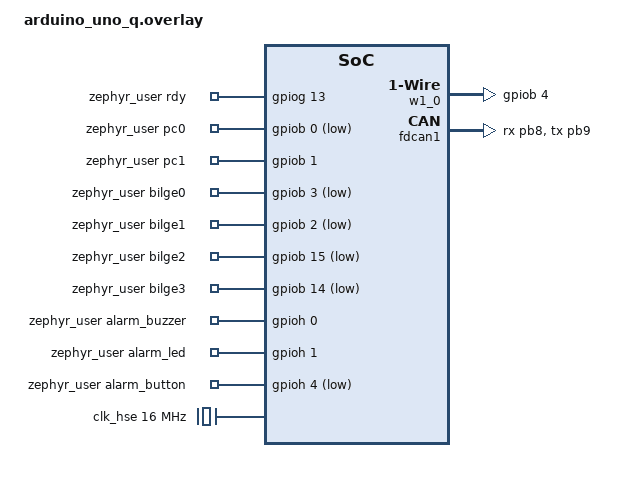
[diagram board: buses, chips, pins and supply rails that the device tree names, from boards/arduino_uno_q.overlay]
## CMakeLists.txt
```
cmake_minimum_required(VERSION 3.20.0)

# -----------------------------------------------------------------------
# CAN controller selection
#   OFF (default) — STM32 FDCAN1 on PB8/PB9 (D9/D10)
#   ON            — CANADUINO MCP2515 CAN Bus Shield via Arduino SPI2
#                   (CS=D10/PB9, INT=D2/PB3, SCK/MISO/MOSI=D13-D11)
# -----------------------------------------------------------------------
set(USE_MCP2515_SHIELD OFF)

if(USE_MCP2515_SHIELD)
  list(APPEND EXTRA_DTC_OVERLAY_FILE
    "${CMAKE_CURRENT_SOURCE_DIR}/boards/arduino_uno_q_mcp2515.overlay")
  list(APPEND EXTRA_CONF_FILE
    "${CMAKE_CURRENT_SOURCE_DIR}/prj_mcp2515.conf")
endif()

find_package(Zephyr REQUIRED HINTS $ENV{ZEPHYR_BASE})

project(sensor_n2k)

target_sources(app PRIVATE
    src/main.c
    src/spi_bridge.c
    src/adc.c
    src/onewire.c
    src/n2k.c
    src/led.c
    src/sensor_config.c
    src/pulse_counter.c
    src/alarm_io.c
    src/bilge.c
)
```

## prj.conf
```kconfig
CONFIG_CAN=y
CONFIG_CAN_MANUAL_RECOVERY_MODE=y
CONFIG_CAN_INIT_PRIORITY=60
CONFIG_CAN_STM32_FDCAN_MAX_STD_ID_FILTERS=28
CONFIG_CAN_STM32_FDCAN_MAX_EXT_ID_FILTERS=8

CONFIG_SPI=y
CONFIG_SPI_STM32_DMA=y

# Nocache SRAM region for GPDMA SPI buffers.
# Without this the MPU does not mark the SRAM_NOCACHE DT region as
# non-cacheable and __nocache / Z_GENERIC_SECTION(SRAM_NOCACHE) have no effect,
# leaving spi_tx/spi_rx in cached SRAM where GPDMA reads stale data.

CONFIG_ADC=y

CONFIG_GPIO=y
CONFIG_W1=y
# W1_ZEPHYR_GPIO_TIME_CRITICAL is intentionally disabled.
# With it enabled, irq_lock() is held for every 1-Wire bit slot (~60 µs),
# blocking pulse counter ISRs and causing SPI slave overruns.
# DS18B20 tolerates ~2 µs of bit-timing jitter; Cortex-M interrupt latency
# is < 1 µs, so k_busy_wait()-based timing is accurate enough without locking.
# Always use MATCH ROM addressing so w1_write_read() correctly targets
# individual sensors on a multi-drop bus (overrides the DTS slave_count heuristic)
CONFIG_W1_NET_FORCE_MULTIDROP_ADDRESSING=y
CONFIG_SENSOR=y

# Floating-point printf in LOG macros (fixes %f in onewire / adc)
CONFIG_CBPRINTF_FP_SUPPORT=y

# Persistent config via NVS in the storage_partition
CONFIG_FLASH=y
CONFIG_FLASH_MAP=y
CONFIG_NVS=y
CONFIG_SETTINGS=y
CONFIG_SETTINGS_NVS=y

CONFIG_LOG=y
CONFIG_LOG_MODE_IMMEDIATE=y
CONFIG_PRINTK=y

CONFIG_MAIN_STACK_SIZE=2048
CONFIG_SYSTEM_WORKQUEUE_STACK_SIZE=2048


#debug support — choose ONE of the two blocks below

# --- Option A: UART console ---
# CONFIG_CONSOLE=y
# CONFIG_UART_CONSOLE=y
# CONFIG_SERIAL=y

# --- Option B: SEGGER RTT via OpenOCD (active) ---
CONFIG_CONSOLE=y
CONFIG_UART_CONSOLE=n
CONFIG_SERIAL=n
CONFIG_USE_SEGGER_RTT=y
CONFIG_RTT_CONSOLE=y
CONFIG_LOG_BACKEND_RTT=y
CONFIG_LOG_BACKEND_UART=n
CONFIG_SEGGER_RTT_SECTION_NONE=y
CONFIG_SEGGER_RTT_MODE_NO_BLOCK_SKIP=y
CONFIG_SEGGER_RTT_BUFFER_SIZE_UP=4096
```

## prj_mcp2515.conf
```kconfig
# Extra Kconfig for the MCP2515 CAN shield build.
# Appended after prj.conf when USE_MCP2515_SHIELD=ON in CMakeLists.txt.

# Show all MCP2515 driver errors (the CAN log module defaults to LOG_DEFAULT_LEVEL
# which may suppress driver-internal LOG_ERR; force it to INF here so mode-change
# failures and SPI errors are visible during bring-up).
CONFIG_CAN_LOG_LEVEL_INF=y

# CONFIG_CAN_MCP2515 is auto-enabled by Zephyr when the mcp2515 DTS node
# exists with status = "okay" (DT_HAS_MICROCHIP_MCP2515_ENABLED).

# MCP2515 interrupt handler thread — defaults are fine but documented here.
CONFIG_CAN_MCP2515_INT_THREAD_STACK_SIZE=1024
CONFIG_CAN_MCP2515_INT_THREAD_PRIO=2

# Allow up to 16 concurrent RX filters (default; raise if more are needed).
CONFIG_CAN_MCP2515_MAX_FILTERS=16

# Larger RTT buffer — the MCP2515 on a live N2K bus produces many frame log
# lines during the 3 s sniff; the default 4096 B overflows and truncates output.
CONFIG_SEGGER_RTT_BUFFER_SIZE_UP=16384

# prj.conf already adds CBPRINTF_FP_SUPPORT, FLASH, NVS, SETTINGS — all carry over.

# Note: CONFIG_CAN_STM32_FDCAN_MAX_STD_ID_FILTERS and
# CONFIG_CAN_STM32_FDCAN_MAX_EXT_ID_FILTERS from prj.conf become
# orphaned when FDCAN1 is disabled; Zephyr will warn but the build succeeds.
```

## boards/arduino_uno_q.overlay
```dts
#include <zephyr/dt-bindings/clock/stm32u5_clock.h>
#include <zephyr/dt-bindings/dma/stm32_dma.h>
/*
 * Arduino UNO Q overlay for sensor_n2k.
 *
 * SPI3 (spi3) is the internal SPI bus to the Linux MPU — already enabled
 * with correct pinctrl in arduino_uno_q-common.dtsi.
 * DMA is added here: without it the 8-byte SPI FIFO causes a header
 * duplication in every slave-mode transfer (first 8 bytes clock out from
 * the FIFO, then the interrupt handler restarts TX from spi_tx[0]).
 *
 * RDY output: PG13 = gpiochip1 line 70 on the Linux side.
 *
 * FDCAN1 RX/TX: PB8 / PB9 (Arduino D9 / D10) — avoids USB OTG FS PHY on PA11/PA12
 * 1-Wire data : PB4 (Arduino D8)
 * ADC ch 9    : PA4 (Arduino A0)
 */

/ {
	chosen {
		zephyr,canbus = &fdcan1;
	};

	/* RDY GPIO — must use DT_PATH(zephyr_user) to match can_spi_bridge_n2k */
	zephyr_user: zephyr,user {
		rdy_gpios = <&gpiog 13 GPIO_ACTIVE_HIGH>;
		/*
		 * Pulse counter inputs (active-high, pull-down).
		 * Connect signal to D3 (PC0) and/or D6 (PC1).
		 * Enable in config: g_sensor_cfg.pulse[n].enabled = true.
		 *   PC0 — D3 / PB0 : STW paddle wheel or tach
		 *   PC1 — D6 / PB1 : engine RPM or second STW
		 */
		//??pc0_gpios = <&gpiob 0 (GPIO_ACTIVE_HIGH | GPIO_PULL_DOWN)>;
		pc0_gpios = <&gpiob 0 (GPIO_ACTIVE_LOW | GPIO_PULL_UP)>;
		pc1_gpios = <&gpiob 1 (GPIO_ACTIVE_HIGH | GPIO_PULL_DOWN)>;

		/*
		 * Bilge pump monitor inputs — 4-channel PC817 opto-isolator
		 * board, LED side driven from each pump's 12V running line
		 * (through a series resistor), phototransistor side pulling
		 * one of these 3.3V pins. Pump running -> LED lit ->
		 * phototransistor conducts -> pin pulled LOW, so
		 * ACTIVE_LOW+PULL_UP (same convention as pc0_gpios above,
		 * same electrical situation: an external open-collector-ish
		 * output pulling a normally-pulled-up input).
		 *   bilge0 — D2  / PB3
		 *   bilge1 — D7  / PB2
		 *   bilge2 — D11 / PB15
		 *   bilge3 — D12 / PB14
		 * All four confirmed free on this board (not claimed by
		 * 1-Wire/ADC/pulse-counters/FDCAN/USART1/USB OTG pins).
		 */
		bilge0_gpios = <&gpiob 3  (GPIO_ACTIVE_LOW | GPIO_PULL_UP)>;
		bilge1_gpios = <&gpiob 2  (GPIO_ACTIVE_LOW | GPIO_PULL_UP)>;
		bilge2_gpios = <&gpiob 15 (GPIO_ACTIVE_LOW | GPIO_PULL_UP)>;
		bilge3_gpios = <&gpiob 14 (GPIO_ACTIVE_LOW | GPIO_PULL_UP)>;

		/*
		 * Alarm buzzer/LED/cancel-button — PLACEHOLDER pins pending real
		 * wiring confirmation (physical bring-up is not part of initial
		 * alarm-feature testing; Bluetooth speaker output is tested
		 * first). GPIOF was the original plan but has no devicetree node
		 * in Zephyr's STM32U5 support at all — see alarm_io.h for the
		 * full explanation. Using GPIOH instead: already enabled below,
		 * PH10-15 are the on-board status LEDs in arduino_uno_q-common.dtsi.
		 * This block is shared with the MCP2515 overlay variant too —
		 * EXTRA_DTC_OVERLAY_FILE in CMakeLists.txt merges onto this same
		 * zephyr_user node rather than replacing it, so no duplicate
		 * block is needed in arduino_uno_q_mcp2515.overlay.
		 *
		 * alarm_button is interrupt-driven, so its pin *number* (not just
		 * port) must not collide with any other interrupt-driven input's
		 * pin number: STM32 EXTI lines are numbered by pin number and
		 * shared across all ports (only one port can own EXTI-line-N's
		 * callback at a time — the second gpio_pin_interrupt_configure()
		 * call for that line silently gets -EBUSY and is never armed,
		 * both call sites here ignore the return value). Pin numbers 0-3
		 * and 14-15 are already claimed by pc0/pc1/bilge0-3 above, so
		 * this must stay off those — PH4 is free. (Originally PH2, which
		 * collided with bilge1_gpios's PB2 and silently broke bilge
		 * channel 1's interrupt — button was never wired up yet so the
		 * conflict went unnoticed until bilge1 testing surfaced it.)
		 */
		alarm_buzzer_gpios = <&gpioh 0 GPIO_ACTIVE_HIGH>;
		alarm_led_gpios    = <&gpioh 1 GPIO_ACTIVE_HIGH>;
		alarm_button_gpios = <&gpioh 4 (GPIO_ACTIVE_LOW | GPIO_PULL_UP)>;
	};

	/*
	 * 1-Wire bus on PB4 (D8). External 4.7 kΩ pull-up to 3.3 V required.
	 * Sensors are enumerated at runtime (up to MAX_OW_SENSORS = 4).
	 * No child device nodes — onewire.c drives the bus via the W1 API directly,
	 * supporting any number of DS18B20s without needing ROM codes in DTS.
	 */
	w1_0: onewire {
		compatible = "zephyr,w1-gpio";
		gpios = <&gpiob 4 (GPIO_ACTIVE_HIGH | GPIO_OPEN_DRAIN | GPIO_PULL_UP)>;
		#address-cells = <1>;
		#size-cells = <0>;
	};
};

&gpioh {
	status = "okay";
};

&pinctrl {
    fdcan1_rx_pb8: fdcan1_rx_pb8 {
        pinmux = <STM32_PINMUX('B', 8, AF9)>; /* FDCAN1_RX on PB8 (D9) */
        bias-pull-up;
    };

    fdcan1_tx_pb9: fdcan1_tx_pb9 {
        pinmux = <STM32_PINMUX('B', 9, AF9)>; /* FDCAN1_TX on PB9 (D10) */
        slew-rate = "very-high-speed";
    };
};


/*
 * The board dtsi has SPI2 enabled with NSS on PB9 (same pin as FDCAN1_TX).
 * Disable SPI2 so its pinctrl does not fight for PB9 in the FDCAN build.
 */
&spi2 {
	status = "disabled";
};

/*
 * SPI3 DMA: GPDMA1 request 10 = SPI3_RX, request 11 = SPI3_TX.
 * Use channels 2 (RX) and 3 (TX) — free on this board.
 * Without DMA the 8-byte FIFO causes header duplication on every transfer.
 */
&spi3 {
	dmas = <&gpdma1 2 10 (STM32_DMA_PERIPH_RX | STM32_DMA_MEM_INC | STM32_DMA_MEM_8BITS | STM32_DMA_PERIPH_8BITS)>,
	       <&gpdma1 3 11 (STM32_DMA_PERIPH_TX | STM32_DMA_MEM_INC | STM32_DMA_MEM_8BITS | STM32_DMA_PERIPH_8BITS)>;
	dma-names = "rx", "tx";
};

/*
 * HSE on the Arduino UNO Q is a 16 MHz crystal. Confirmed empirically
 * on hardware via an LSE-referenced (32.768 kHz, independent oscillator)
 * DWT cycle-count measurement: 16,000,082 Hz measured, ~5 ppm off nominal.
 * The board dtsi default of 16 MHz was correct; do not override it.
 */
&clk_hse {
    clock-frequency = <DT_FREQ_M(16)>;
    status = "okay";
};

/* FDCAN1 250 kbit/s classic CAN for NMEA 2000 */
&fdcan1 {
	/* entry 1 = APB1_2 bus gate; entry 2 = KERNEL clock (times the bits).
	 * FDCAN1_SEL(0) = HSE per LL_RCC_FDCAN_CLKSOURCE_HSE. Without this
	 * second entry, can_stm32fd_clock_enable()/get_core_clock() both
	 * skip configuring/reading the real kernel clock and silently
	 * assume the 160 MHz APB1_2 bus clock instead, producing a bit rate
	 * 10x too slow (25 kbit/s instead of 250 kbit/s) since the hardware
	 * is actually clocked from the untouched HSE.
	 */
	clocks = <&rcc STM32_CLOCK(APB1_2, 9)>,
		 <&rcc STM32_SRC_HSE FDCAN1_SEL(0)>;

	pinctrl-0 = <&fdcan1_rx_pb8 &fdcan1_tx_pb9>;
    pinctrl-names = "default";

	/* Exact hardcoded elements forced by the Zephyr stm32 driver build assertions:
     * <offset std-filters ext-filters rx-fifo0 rx-fifo1 rx-buf tx-event-fifo tx-buf> */
    bosch,mram-cfg = <0x0 28 8 3 3 0 3 3>;

    status = "okay";

};
```

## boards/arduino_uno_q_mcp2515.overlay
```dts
/*
 * MCP2515 CAN Shield overlay for sensor_n2k — Arduino UNO Q (STM32U585).
 *
 * Applied ON TOP of arduino_uno_q.overlay when USE_MCP2515_SHIELD=ON in
 * CMakeLists.txt.  Overrides the CAN controller selection from FDCAN1 to
 * the CANADUINO MCP2515 CAN Bus Shield for Arduino UNO.
 *
 * Shield wiring (standard Arduino headers):
 *   Signal   Arduino pin   STM32 pin   SPI2 function
 *   -------  -----------   ---------   -------------
 *   SCK      D13           PB13        SPI2_SCK
 *   MISO     D12           PB14        SPI2_MISO
 *   MOSI     D11           PB15        SPI2_MOSI
 *   CS/SS    D10           PB9         GPIO (software CS, ACTIVE_LOW)
 *   INT      D2            PB3         GPIO (ACTIVE_LOW interrupt)
 *
 * The MCP2515 shield uses an 8 MHz crystal.
 * NMEA 2000 bus speed: 250 kbit/s.
 */

/ {
	chosen {
		zephyr,canbus = &mcp2515;
	};
};

/*
 * FDCAN1 is disabled so PB8 (FDCAN_RX) and PB9 (FDCAN_TX) are released.
 * PB9 is reused as the MCP2515 software chip-select below.
 */
&fdcan1 {
	status = "disabled";
};

/*
 * SPI2 with software CS on PB9 (D10).
 *
 * The board dtsi already enables SPI2 with spi2_nss_pb9 in its pinctrl,
 * which would configure PB9 as AF5 (hardware NSS).  We override that here:
 * remove hardware NSS from pinctrl so PB9 stays in GPIO mode for cs-gpios.
 */
&spi2 {
	pinctrl-0 = <&spi2_sck_pb13 &spi2_miso_pb14 &spi2_mosi_pb15>;
	pinctrl-names = "default";
	cs-gpios = <&gpiob 9 GPIO_ACTIVE_LOW>;
	status = "okay";

	mcp2515: can@0 {
		compatible = "microchip,mcp2515";
		reg = <0>;
		spi-max-frequency = <10000000>;           /* MCP2515 max 10 MHz   */
		int-gpios = <&gpiob 3 GPIO_ACTIVE_LOW>;   /* D2 / PB3             */
		osc-freq = <16000000>;                    /* 16 MHz shield crystal (CANADUINO) */
		bitrate = <250000>;                       /* NMEA 2000            */
		sample-point = <875>;                     /* 87.5 % per N2K spec  */
		status = "okay";
	};
};
```

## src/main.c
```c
#include "adc.h"
#include "bilge.h"
#include "n2k.h"
#include "onewire.h"
#include "pulse_counter.h"
#include "sensor_config.h"
#include "spi_bridge.h"
#include "alarm_io.h"

#include <zephyr/device.h>
#include <zephyr/devicetree.h>
#include <zephyr/kernel.h>
#include <zephyr/logging/log.h>
#include "led.h"

/*
    LED Usage
	LED3R: CAN error (set on error)
	LED3G: CAN RX activity 
	LED3B: CAN TX activity
	LED4R: sensor acquisition error (set on error)
	LED4G: sensor read
	LED4B: new sensor debug
	*/

LOG_MODULE_REGISTER(sensor_n2k, LOG_LEVEL_INF);

#define STACK_SIZE  1536
#define PRIO        5

K_THREAD_STACK_DEFINE(adc_stack, STACK_SIZE);
K_THREAD_STACK_DEFINE(ow_stack,  STACK_SIZE);

static struct k_thread adc_thread_data;
static struct k_thread ow_thread_data;

/*
 * FDCAN1 — used by spi_bridge to forward frames received from Linux onto
 * the physical NMEA 2000 bus.  Sensor data flows the other way: threads →
 * spi_bridge TX queue → SPI block → Linux → SignalK → SPI block →
 * spi_bridge RX → FDCAN1.
 */
static const struct device *can_dev = DEVICE_DT_GET(DT_CHOSEN(zephyr_canbus));

CAN_MSGQ_DEFINE(sniff_q, 4);
CAN_MSGQ_DEFINE(mon_q,   32);

/*
 * Listen-only sniff: put FDCAN1 in passive mode for 3 s and check whether
 * any extended frames arrive from the N2K bus.
 *
 * LED result (shown after the 10-blink startup sequence):
 *   LED4G × 5  — Garmin traffic heard, RX path is OK
 *   LED4R × 5  — silence: CANH/CANL not reaching the chip
 */
static void can_bus_sniff(void)
{
	static const struct can_filter f = {
		.flags = CAN_FILTER_IDE, .id = 0, .mask = 0,
	};

	LOG_INF("Bus sniff: start");

#if defined(CONFIG_CAN_MCP2515)
	/*
	 * MCP2515: entering CONFIG mode (required for set_mode) stalls while any
	 * CAN frame is in-flight, which hangs the sniff when bus traffic is
	 * present and adds 10–20 s even on a quiet bus due to retry overhead.
	 * The MCP2515 is already started in Normal mode by n2k_init(); just add
	 * a catch-all filter and listen from the current mode.  Normal mode
	 * generates ACKs, which is acceptable for a go/no-go bus presence check.
	 */
	int fid = can_add_rx_filter_msgq(can_dev, &sniff_q, &f);
	struct can_frame rx;
	bool heard = (k_msgq_get(&sniff_q, &rx, K_SECONDS(3)) == 0);
	if (fid >= 0) {
		can_remove_rx_filter(can_dev, fid);
	}
#else
	/*
	 * FDCAN / native CAN: use NORMAL mode, not listen-only.
	 *
	 * Listen-only never drives an ACK bit, by design. If this is the only
	 * other live node acking a sender's frame, the sender sees a
	 * hardware ACK error and immediately retransmits the identical
	 * frame - CAN's normal, spec-compliant behavior. With a real bus
	 * node present that keeps retrying, this turns a "quiet observation"
	 * into a full-rate retry storm, which is the opposite of "not
	 * disturbing the bus". Confirmed on hardware: LISTENONLY produced a
	 * sustained flood of one node's request frame near line rate;
	 * switching this to NORMAL (which lets us ACK) dropped it to the
	 * handful of frames actually sent. Normal mode is safe here (unlike
	 * the historical note further down, which predates the FDCAN clock
	 * fix — see can_bus_monitor()).
	 */
	int err;
	struct can_frame rx;
	bool heard = false;

	can_stop(can_dev);
	err = can_set_mode(can_dev, CAN_MODE_NORMAL);
	if (err != 0) {
		LOG_ERR("Bus sniff: failed to set mode %d", err);
		goto restore;
	}
	err = can_start(can_dev);
	if ((err != 0) && (err != -EALREADY)) {
		LOG_ERR("Bus sniff: failed to start CAN controller %d", err);
		goto restore;
	}

	int fid = can_add_rx_filter_msgq(can_dev, &sniff_q, &f);
	heard = (k_msgq_get(&sniff_q, &rx, K_SECONDS(3)) == 0);
	if (fid >= 0) {
		can_remove_rx_filter(can_dev, fid);
	}
	can_stop(can_dev);

restore:
	can_set_mode(can_dev, CAN_MODE_NORMAL);
#endif /* CONFIG_CAN_MCP2515 */

	if (heard) {
		LOG_INF("Bus sniff: N2K traffic detected — RX OK");
		led4g_blink(5);
	} else {
		LOG_WRN("Bus sniff: no traffic in 3 s — check CANH/CANL");
		led4r_blink(5);
	}
}


/*
 * 30-second active bus monitor.
 *
 * Runs in NORMAL mode, not listen-only. Earlier versions of this function
 * used CAN_MODE_LISTENONLY on the theory that suppressing our own ACK/error
 * frames would be gentler on the bus. That's backwards: CAN's ACK slot is
 * part of the protocol, not optional politeness. A sender whose frame goes
 * unacknowledged sees a hardware ACK error and immediately retransmits the
 * identical frame — that's automatic, spec-mandated retry, not a bug in the
 * sender. With only one other live node on the bus and this node unable to
 * ACK, that retry loop free-runs at (near) full bus rate indefinitely.
 *
 * Confirmed on hardware: a run in LISTENONLY mode logged 43,000+ frames in
 * ~24 s (near line-rate for 250 kbit/s) — a single ISO Request being retried
 * nonstop because nothing ever acked it. Switching this function to NORMAL
 * mode dropped that to 3 frames total, with clean silence afterward — the
 * real amount of traffic the other node actually intended to send.
 *
 * There IS a historical note (see git blame, commit 552eacf1, 2026-06-21)
 * that normal mode "corrupted Garmin's frames" with REC hitting 127 and 0
 * frames received. That predates the FDCAN kernel-clock fix (this board's
 * FDCAN was silently running at ~25 kbit/s instead of 250 kbit/s at the
 * time — see the fdcan1 `clocks` property in arduino_uno_q.overlay and
 * debug_can_clocks() in this file). A node transmitting bit-timing garbage
 * at the wrong rate would produce exactly that symptom on any other node
 * regardless of ACK behavior. With the clock fix in place, normal mode is
 * clean — verified end to end here, plus address claim and product-info
 * broadcast succeeding immediately afterward.
 *
 * How to use:
 *   1. Flash and power on this board.
 *   2. Wait for "Bus monitor: ready" in RTT.
 *   3. Power on Garmin devices.
 *   4. Watch the log for 30 s:
 *        RX frame lines  → CRX signal is good; frames decode cleanly
 *        Silence only    → CRX signal too degraded to form a valid CAN frame
 */
static void can_bus_monitor(void)
{
	static const struct can_filter f_all = {
		.flags = CAN_FILTER_IDE, .id = 0, .mask = 0,
	};
	int err;

	can_stop(can_dev);
	err = can_set_mode(can_dev, CAN_MODE_NORMAL);
	if (err != 0) {
		LOG_ERR("Bus monitor: set mode failed %d", err);
		goto restore;
	}
	err = can_start(can_dev);
	if (err != 0 && err != -EALREADY) {
		LOG_ERR("Bus monitor: start failed %d", err);
		goto restore;
	}

	int fid = can_add_rx_filter_msgq(can_dev, &mon_q, &f_all);
	if (fid < 0) {
		LOG_ERR("Bus monitor: filter add failed %d", fid);
		goto stop;
	}

	LOG_INF("Bus monitor: normal mode, 30 s — power on Garmin now");

	uint32_t n_frames = 0;
	int64_t  t0       = k_uptime_get();
	int64_t  deadline = t0 + 30000;
	int64_t  next_hb  = t0 + 5000;

	while (k_uptime_get() < deadline) {
		struct can_frame rx;
		int64_t rem = deadline - k_uptime_get();

		if (k_msgq_get(&mon_q, &rx, K_MSEC(MIN(rem, 200))) == 0) {
			uint8_t  pri =  (rx.id >> 26) & 0x7U;
			uint8_t  dp  =  (rx.id >> 24) & 0x1U;
			uint8_t  pf  =  (rx.id >> 16) & 0xFFU;
			uint8_t  ps  =  (rx.id >>  8) & 0xFFU;
			uint8_t  sa  =   rx.id        & 0xFFU;
			uint32_t pgn = (pf < 240U)
				? ((uint32_t)dp << 16) | ((uint32_t)pf << 8)
				: ((uint32_t)dp << 16) | ((uint32_t)pf << 8) | ps;

			LOG_INF("RX #%u +%llds pri=%u pgn=0x%05X sa=0x%02X "
				"%02X%02X%02X%02X%02X%02X%02X%02X",
				++n_frames,
				(long long)((k_uptime_get() - t0) / 1000),
				pri, pgn, sa,
				rx.data[0], rx.data[1], rx.data[2], rx.data[3],
				rx.data[4], rx.data[5], rx.data[6], rx.data[7]);
		}

		if (k_uptime_get() >= next_hb) {
			LOG_INF("Bus monitor: +%llds — %u frames received",
				(long long)((k_uptime_get() - t0) / 1000),
				n_frames);
			next_hb += 5000;
		}
	}

	LOG_INF("Bus monitor: done — %u frames in 30 s", n_frames);
	if (n_frames == 0) {
		LOG_WRN("Bus monitor: no frames — "
			"CRX signal too degraded or Garmin did not transmit");
	}

	can_remove_rx_filter(can_dev, fid);

stop:
	can_stop(can_dev);
restore:
	can_set_mode(can_dev, CAN_MODE_NORMAL);
}

void debug_can_clocks(void)
{
    // 1. Check if the physical HSE Crystal is actually turned ON and STABLE
    uint32_t rcc_cr = RCC->CR;
    bool hse_on = (rcc_cr & RCC_CR_HSEON) != 0;
    bool hse_ready = (rcc_cr & RCC_CR_HSERDY) != 0;
    
    // 2. Query the exact Clock Multiplexer source assigned to FDCAN
    // On the STM32U5, the CCIPR1 register manages the peripheral kernel selections
    uint32_t fdcan_sel = (RCC->CCIPR1 & RCC_CCIPR1_FDCANSEL_Msk) >> RCC_CCIPR1_FDCANSEL_Pos;

    printk("=== NMEA 2000 Clock Debug ===\n");
    printk("HSE Oscillator Active: %s\n", hse_on ? "YES" : "NO");
    printk("HSE Clock Stabilized:  %s\n", hse_ready ? "YES" : "NO");

    /* There is no HCLK input on the FDCAN kernel mux. Per RM0456 CCIPR1[25:24]
     * and DS13086 Fig. 5, the mux is fed only by HSE, pll1_q_ck, pll2_p_ck:
     * 00=HSE, 01=PLL1_Q, 10=PLL2_P, 11=reserved. The previous table here
     * reported the opposite of the truth (00 as HCLK, 10 as HSE).
     */
    if (fdcan_sel == 0) {
        printk("FDCAN Kernel Source:   HSE\n");
    } else if (fdcan_sel == 1) {
        printk("FDCAN Kernel Source:   PLL1_Q\n");
    } else if (fdcan_sel == 2) {
        printk("FDCAN Kernel Source:   PLL2_P\n");
    } else {
        printk("FDCAN Kernel Source:   Reserved/Unknown (%d)\n", fdcan_sel);
    }

    /* This is what actually sets the bit rate - print it directly rather
     * than trusting the mux decode above.
     */
    uint32_t rate = 0;
    can_get_core_clock(can_dev, &rate);
    printk("FDCAN core clock as seen by driver: %u Hz\n", rate);

    printk("=============================\n");
}
#include <zephyr/drivers/gpio.h>
/* PB9 is Pin 9 on Port B — FDCAN1_TX on new wiring (D10) */
#define TEST_TX_PIN  9
static const struct device *gpiob_dev = DEVICE_DT_GET(DT_NODELABEL(gpiob));

int main(void)
{
	int ret;

	init_leds();
	led3r_blink(10);
	led4g_blink(10);

	alarm_io_init();


#if 0
    if (!device_is_ready(gpiob_dev)) {
        printk("Error: GPIOB peripheral port not ready!\n");
        return -1;
    }

    /* Force PB9 (D10, CTX) HIGH — transceiver should drive bus recessive (0 V diff) */
    ret = gpio_pin_configure(gpiob_dev, TEST_TX_PIN, GPIO_OUTPUT_ACTIVE | GPIO_PULL_UP);
    if (ret < 0) {
        printk("Failed to configure PB9: %d\n", ret);
        return -1;
    }

    printk("PB9 (D10, CAN_TX) forced HIGH — measure CAN-H to CAN-L delta now (expect ~0 V)\n");
	int ii = 15;
    while (ii--) {
        k_sleep(K_MSEC(1000));
    }

    /* Force PB9 (D10, CTX) LOW — transceiver should drive bus dominant (~2 V diff) */
    ret = gpio_pin_configure(gpiob_dev, TEST_TX_PIN, GPIO_OUTPUT_INACTIVE | GPIO_PULL_UP);
    if (ret < 0) {
        printk("Failed to configure PB9: %d\n", ret);
        return -1;
    }

    printk("PB9 (D10, CAN_TX) forced LOW — measure CAN-H to CAN-L delta now (expect ~2 V)\n");

    while (1) {
        k_sleep(K_MSEC(1000));
    }
	return 0;
#endif
	
	sensor_config_load();   /* populate g_sensor_cfg from NVS (or compile-time defaults) */

	/* Give the Arduino UNO Q's internal SPI bridge time to negotiate its
	 * link with the Qualcomm processor before enabling CAN interrupts. */
	k_msleep(2000);
	bool loop_back = false;
	LOG_INF("Initializing N2K CAN in %s mode...", loop_back ? "loopback" : "normal");
	if ((ret = n2k_init(can_dev, loop_back)) != 0) {
		led3r_set(1);
		LOG_ERR("N2K init failed: %d", ret);
		////return ret;
	}

	debug_can_clocks();
#if defined(CONFIG_CAN_STM32_FDCAN)
	can_bus_monitor();   /* FDCAN path diagnostic — 30 s listen window */
#else
	can_bus_sniff();     /* MCP2515 / SPI CAN: quick 3 s go/no-go check */
#endif

	/*
	 * spi_bridge_init() starts the CAN controller and the SPI slave
	 * bridge thread.  After this returns, the SPI link to Linux is live
	 * and FDCAN1 is ready to transmit frames that arrive from Linux.
	 */
	ret = spi_bridge_init(can_dev);
	if (ret != 0) {
		return ret;
	}

	ret = n2k_negotiate_address(can_dev);
	if (ret != 0) {
		led3r_set(1);
		return ret;
	}

	/* Attach catch-all RX filter AFTER address claiming so the N2K
	 * management filters (PGN 60928, 59904) already occupy lower M_CAN
	 * filter indices and win the hardware priority check first. */
	ret = spi_bridge_attach_rx(can_dev);
	if (ret < 0) {
		return ret;
	}

	k_thread_create(&adc_thread_data, adc_stack, STACK_SIZE,
			adc_thread, NULL, NULL, NULL,
			PRIO, 0, K_NO_WAIT);
	k_thread_name_set(&adc_thread_data, "adc");

	k_thread_create(&ow_thread_data, ow_stack, STACK_SIZE,
			onewire_thread, NULL, NULL, NULL,
			PRIO, 0, K_NO_WAIT);
	k_thread_name_set(&ow_thread_data, "1wire");

	pulse_counter_init(can_dev);   /* starts thread only if a counter is enabled */

	bilge_init(can_dev);

	return 0;
}
```

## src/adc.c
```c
#include "adc.h"
#include "sensor_config.h"
#include "n2k.h"
#include "spi_bridge.h"
#include "led.h"

#include <zephyr/device.h>
#include <zephyr/devicetree.h>
#include <zephyr/drivers/adc.h>
#include <zephyr/drivers/can.h>
#include <zephyr/kernel.h>
#include <zephyr/logging/log.h>

LOG_MODULE_REGISTER(adc_n2k, LOG_LEVEL_INF);

#define ADC_NODE        DT_NODELABEL(adc1)
#define ADC_CHANNEL_ID  9               /* PA4 / Arduino A0 */
#define ADC_RESOLUTION  14
#define ADC_MAX_RAW     ((1 << ADC_RESOLUTION) - 1)  /* 16383 */
#define KELVIN_OFFSET   273.15f

static const struct device *adc_dev = DEVICE_DT_GET(ADC_NODE);

static const struct adc_channel_cfg ch_cfg = {
    .gain             = ADC_GAIN_1,
    .reference        = ADC_REF_INTERNAL,
    .acquisition_time = ADC_ACQ_TIME_MAX,
    .channel_id       = ADC_CHANNEL_ID,
    .differential     = 0,
};

void adc_thread(void *unused0, void *unused1, void *unused2)
{
    ARG_UNUSED(unused0);
    ARG_UNUSED(unused1);
    ARG_UNUSED(unused2);

    int16_t sample_buf;
    int ret;

    struct adc_sequence seq = {
        .channels    = BIT(ADC_CHANNEL_ID),
        .buffer      = &sample_buf,
        .buffer_size = sizeof(sample_buf),
        .resolution  = ADC_RESOLUTION,
    };

    if (!device_is_ready(adc_dev)) {
        LOG_ERR("ADC not ready");
        return;
    }

    ret = adc_channel_setup(adc_dev, &ch_cfg);
    if (ret != 0) {
        LOG_ERR("ADC channel setup failed: %d", ret);
        return;
    }

    while (1) {
        const temp_sensor_cfg_t *cfg = &g_sensor_cfg.adc;
        uint32_t poll_ms = (cfg->poll_ms >= 100U) ? cfg->poll_ms : 1000U;

        if (!cfg->enabled) {
            k_sleep(K_MSEC(poll_ms));
            continue;
        }

        float temp_c;
        if (cfg->test_mode) {
            temp_c = cfg->test_value_c;
            int tc10 = (int)(temp_c * 10.0f + 0.5f);
            LOG_INF("ADC TEST val=%d.%d C  pgn=%u src=%u inst=%u",
                    tc10 / 10, tc10 % 10,
                    cfg->n2k_pgn_id, cfg->n2k_source, cfg->n2k_instance);
        } else {
            ret = adc_read(adc_dev, &seq);
            if (ret != 0) {
                LOG_WRN("ADC read error: %d", ret);
                k_sleep(K_MSEC(poll_ms));
                continue;
            }
            /* Linear map 14-bit raw → 0–1000 °C */
            temp_c = (float)sample_buf * 1000.0f / (float)ADC_MAX_RAW;
            int tc10 = (int)(temp_c * 10.0f + 0.5f);
            LOG_INF("ADC raw=%d  %d.%d C  pgn=%u src=%u inst=%u",
                    sample_buf, tc10 / 10, tc10 % 10,
                    cfg->n2k_pgn_id, cfg->n2k_source, cfg->n2k_instance);
        }
        float temp_k = temp_c + KELVIN_OFFSET;

        struct can_frame frames[N2K_TEMP_MAX_FRAMES];
        int nframes = n2k_build_temp_frames(cfg->n2k_pgn_id,
                                            cfg->n2k_instance,
                                            cfg->n2k_source,
                                            temp_k, frames);
        LED4G_BLINK(1);
        for (int fi = 0; fi < nframes; fi++) {
            ret = n2k_send_frame(&frames[fi]);
            if (ret != 0) {
                LOG_WRN("ADC: FDCAN TX failed (%d)", ret);
            }
            ret = spi_bridge_enqueue(&frames[fi]);
            if (ret != 0) {
                LOG_WRN("ADC: SPI bridge TX full (%d)", ret);
            }
        }

        k_sleep(K_MSEC(poll_ms));
    }
}
```

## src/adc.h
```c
#ifndef ADC_H_
#define ADC_H_

/* ADC thread entry — sensor data goes to the SPI bridge, not directly to CAN. */
void adc_thread(void *unused0, void *unused1, void *unused2);

#endif /* ADC_H_ */
```

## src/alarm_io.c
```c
#include "alarm_io.h"
#include "spi_bridge.h"

#include <zephyr/device.h>
#include <zephyr/devicetree.h>
#include <zephyr/drivers/can.h>
#include <zephyr/drivers/gpio.h>
#include <zephyr/kernel.h>
#include <zephyr/logging/log.h>

LOG_MODULE_REGISTER(alarm_io, LOG_LEVEL_INF);

/* Single fixed CAN ID for the cancel-button event — same family as
 * DIAG_CAN_ID (0x1EFFFEF) / DIAG2_CAN_ID (0x1EFFFEE) in spi_bridge.c, all
 * outside SENSOR_CFG_CAN_ID_BASE/MASK so spi_bridge.c's catch-all RX filter
 * would forward them if they arrived from the bus — but this frame never
 * touches the physical bus at all, it goes straight to spi_bridge_enqueue()
 * the same way the diagnostic heartbeat does, since it's a purely local
 * (button → Linux) event, not N2K bus traffic. */
#define ALARM_BTN_CAN_ID 0x1EFFFEDUL

/* Same convention as pulse_counter.c's pc0_gpios/pc1_gpios: properties on
 * the shared zephyr_user node, not standalone labeled nodes. */
static const struct gpio_dt_spec buzzer = GPIO_DT_SPEC_GET(DT_PATH(zephyr_user), alarm_buzzer_gpios);
static const struct gpio_dt_spec led    = GPIO_DT_SPEC_GET(DT_PATH(zephyr_user), alarm_led_gpios);
static const struct gpio_dt_spec button = GPIO_DT_SPEC_GET(DT_PATH(zephyr_user), alarm_button_gpios);

static struct gpio_callback button_cb;

/* Buzzer pattern state, driven by a single repeating timer:
 *   0 off, 1 continuous (steady on, timer unused), 2 repeat-beep
 *   (toggle every BEEP_TOGGLE_MS, "warning" tier), 3 beep-burst
 *   (SINGLE_BEEP_COUNT toggles at SINGLE_BEEP_MS then auto-stop, "buzzer"
 *   tier), 4 bell (fast toggle forever at BELL_TOGGLE_MS, mimicking a
 *   marine bell alarm's rapid strike cadence).
 *
 * v1 hardware is on/off only (no PWM) — there is no way to hit the
 * target dB ranges (buzzer 85-95dB / warning 95-105dB / alarm 105-115dB+)
 * from software on this piezo. Loudness/urgency is instead differentiated
 * by cadence: buzzer's brief burst < warning's steady toggle < alarm's
 * continuous tone < bell's rapid strike. Real calibrated dB control only
 * exists for the bt_speaker output path (see bt-speaker.js).
 * volume is stored for API completeness only — no-op in v1 hardware. */
#define BEEP_TOGGLE_MS      400U   /* warning tier: repeats until cleared */
#define BELL_TOGGLE_MS      130U   /* bell tier: repeats until cleared */
#define SINGLE_BEEP_MS      350U   /* buzzer tier: per on/off phase */
#define SINGLE_BEEP_COUNT     6U   /* buzzer tier: total toggles (3 beeps), then auto-stop */

static uint8_t  s_buzzer_pattern;
static uint8_t  s_buzzer_volume;
static bool     s_buzzer_on;
static uint16_t s_beep_toggles_left;

static void buzzer_timer_fn(struct k_timer *t);
K_TIMER_DEFINE(buzzer_timer, buzzer_timer_fn, NULL);

static void buzzer_timer_fn(struct k_timer *t)
{
	ARG_UNUSED(t);

	switch (s_buzzer_pattern) {
	case 2: /* warning: toggle forever */
	case 4: /* bell: toggle forever, faster period */
		s_buzzer_on = !s_buzzer_on;
		gpio_pin_set_dt(&buzzer, s_buzzer_on ? 1 : 0);
		break;
	case 3: /* buzzer: fixed-count toggle burst, then auto-stop */
		s_buzzer_on = !s_buzzer_on;
		gpio_pin_set_dt(&buzzer, s_buzzer_on ? 1 : 0);
		if (--s_beep_toggles_left == 0) {
			k_timer_stop(&buzzer_timer);
			s_buzzer_pattern = 0;
		}
		break;
	default:
		break;
	}
}

void alarm_io_set_buzzer(uint8_t pattern, uint8_t volume)
{
	s_buzzer_volume = volume;   /* stored, unused — see header comment */
	k_timer_stop(&buzzer_timer);

	switch (pattern) {
	case 0: /* off */
		gpio_pin_set_dt(&buzzer, 0);
		s_buzzer_on = false;
		break;
	case 1: /* continuous (alarm tier) */
		gpio_pin_set_dt(&buzzer, 1);
		s_buzzer_on = true;
		break;
	case 2: /* repeat-beep (warning tier) */
		s_buzzer_on = true;
		gpio_pin_set_dt(&buzzer, 1);
		k_timer_start(&buzzer_timer, K_MSEC(BEEP_TOGGLE_MS), K_MSEC(BEEP_TOGGLE_MS));
		break;
	case 3: /* beep-burst (buzzer tier) */
		s_buzzer_on = true;
		gpio_pin_set_dt(&buzzer, 1);
		s_beep_toggles_left = SINGLE_BEEP_COUNT - 1U;   /* first ON phase already applied above */
		k_timer_start(&buzzer_timer, K_MSEC(SINGLE_BEEP_MS), K_MSEC(SINGLE_BEEP_MS));
		break;
	case 4: /* bell */
		s_buzzer_on = true;
		gpio_pin_set_dt(&buzzer, 1);
		k_timer_start(&buzzer_timer, K_MSEC(BELL_TOGGLE_MS), K_MSEC(BELL_TOGGLE_MS));
		break;
	default:
		LOG_WRN("alarm_io: unknown buzzer pattern %u", pattern);
		return;
	}
	s_buzzer_pattern = pattern;
}

void alarm_io_set_led(uint8_t state)
{
	switch (state) {
	case 0: gpio_pin_set_dt(&led, 0); break;
	case 1: gpio_pin_set_dt(&led, 1); break;
	case 2:
		/* Blink is driven the same way host-side alarm-server.js drives
		 * buzzer repeat patterns — poll/toggle from there via repeated
		 * {type:'led',state:0/1} commands — rather than a second
		 * independent on-MCU timer for one LED. Treat as "on" here so
		 * the LED is at least visible if blink commands stop arriving. */
		gpio_pin_set_dt(&led, 1);
		break;
	default:
		LOG_WRN("alarm_io: unknown led state %u", state);
		break;
	}
}

void alarm_io_stop_all(void)
{
	k_timer_stop(&buzzer_timer);
	s_buzzer_pattern = 0;
	s_buzzer_on = false;
	gpio_pin_set_dt(&buzzer, 0);
	gpio_pin_set_dt(&led, 0);
}

/* ------------------------------------------------------------------ */
/* Cancel button — debounced ISR, deferred send                       */
/* ------------------------------------------------------------------ */

/* GPIO ISRs run in interrupt context and must not block; can_send()/
 * spi_bridge_enqueue() are not ISR-safe (same reason pulse_counter.c's
 * ISR only does atomic_inc() and defers real work to a thread). The ISR
 * here just debounces and submits a work item; the actual enqueue happens
 * in system-workqueue context.
 */
#define BUTTON_DEBOUNCE_MS 250

static int64_t s_last_press_uptime;
static struct k_work button_work;

static void button_work_fn(struct k_work *w)
{
	ARG_UNUSED(w);

	struct can_frame f = { 0 };

	f.id      = ALARM_BTN_CAN_ID;
	f.flags   = CAN_FRAME_IDE;
	f.dlc     = 1;
	f.data[0] = 0x42U;   /* magic, matches the single-purpose fixed-ID pattern */

	int ret = spi_bridge_enqueue(&f);

	if (ret != 0) {
		LOG_WRN("alarm_io: cancel-button event dropped (queue full): %d", ret);
	} else {
		LOG_INF("alarm_io: cancel-button pressed");
	}
}

static void button_isr(const struct device *dev, struct gpio_callback *cb, uint32_t pins)
{
	ARG_UNUSED(dev);
	ARG_UNUSED(cb);
	ARG_UNUSED(pins);

	int64_t now = k_uptime_get();

	if ((now - s_last_press_uptime) < BUTTON_DEBOUNCE_MS) {
		return;
	}
	s_last_press_uptime = now;
	k_work_submit(&button_work);
}

void alarm_io_init(void)
{
	if (!gpio_is_ready_dt(&buzzer) || !gpio_is_ready_dt(&led) || !gpio_is_ready_dt(&button)) {
		LOG_ERR("alarm_io: GPIO device(s) not ready — buzzer/led/button pins "
			"are placeholders pending real wiring confirmation, see alarm_io.h");
		return;
	}

	gpio_pin_configure_dt(&buzzer, GPIO_OUTPUT_INACTIVE);
	gpio_pin_configure_dt(&led, GPIO_OUTPUT_INACTIVE);
	gpio_pin_configure_dt(&button, GPIO_INPUT);

	k_work_init(&button_work, button_work_fn);

	gpio_init_callback(&button_cb, button_isr, BIT(button.pin));
	gpio_add_callback(button.port, &button_cb);
	gpio_pin_interrupt_configure_dt(&button, GPIO_INT_EDGE_TO_ACTIVE);

	LOG_INF("alarm_io: ready (buzzer/led/button on placeholder GPIOH pins)");
}
```

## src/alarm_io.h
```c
#ifndef ALARM_IO_H_
#define ALARM_IO_H_

#include <stdint.h>

/*
 * Abstracted hardware I/O for the physical alarm buzzer/LED/cancel-button
 * path. v1 hardware is on/off only (no PWM) — see alarm_io_set_buzzer()'s
 * volume parameter, which is accepted and stored but currently a no-op,
 * kept so a future PWM buzzer driver is a drop-in change rather than an
 * API change.
 *
 * Pin assignments are placeholders. GPIOF (as originally planned) has no
 * devicetree node in Zephyr's STM32U5 support at all — confirmed against
 * both mainline zephyr/dts/arm/st/u5/stm32u5.dtsi (defines gpioa..e, g, h;
 * skips f) and the vendor HAL header (GPIOF_BASE_NS is a real register
 * block on this silicon, so the pins physically exist — Zephyr just never
 * added the node). Adding that node means patching a shared vendored SoC
 * dtsi file used by every STM32U5 board, not a board-local overlay change.
 * Used GPIOH instead: already enabled on this board
 * (arduino_uno_q.overlay's `&gpioh { status = "okay"; };`), and PH0-PH2 are
 * free (PH10-PH15 are the on-board status LEDs, PH0-PH9 aren't otherwise
 * claimed). Real wiring for buzzer/LED/button is unconfirmed either way —
 * update alarm_buzzer_gpios/alarm_led_gpios/alarm_button_gpios on the
 * zephyr_user node in the board overlay once it is (same convention
 * pulse_counter.c already uses for pc0_gpios/pc1_gpios).
 */

/** Configure buzzer output, warning LED output, cancel-button input (with
 *  debounced interrupt). Call once at boot, after gpio devices are ready. */
void alarm_io_init(void);

/** pattern: 0=off, 1=continuous (alarm tier), 2=repeat-beep (warning
 *  tier), 3=beep-burst (buzzer tier, ~3 beeps then auto-stop),
 *  4=bell (rapid strike, mimics a marine bell alarm).
 *  volume: accepted/stored, no-op in v1 (on/off buzzer only). */
void alarm_io_set_buzzer(uint8_t pattern, uint8_t volume);

/** state: 0=off, 1=on, 2=blink. */
void alarm_io_set_led(uint8_t state);

/** Silence buzzer and LED immediately. */
void alarm_io_stop_all(void);

#endif /* ALARM_IO_H_ */
```

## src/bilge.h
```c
#ifndef BILGE_H_
#define BILGE_H_

#include <zephyr/device.h>

/**
 * Initialise bilge pump monitoring: configure the 4 opto-isolated GPIO
 * inputs (see boards overlay for pin assignments) with edge interrupts,
 * and start the aggregation/report/broadcast thread.
 *
 * Must be called after n2k_negotiate_address() (PGN 127501 needs a
 * claimed source address) and after sensor_config_load().
 */
void bilge_init(const struct device *can_dev);

#endif /* BILGE_H_ */
```

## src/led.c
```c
#include "led.h"

#include <zephyr/device.h>
#include <zephyr/devicetree.h>
#include <zephyr/drivers/gpio.h>
#include <zephyr/kernel.h>

static const struct gpio_dt_spec led3r = GPIO_DT_SPEC_GET(DT_NODELABEL(led3_red),   gpios);
static const struct gpio_dt_spec led3g = GPIO_DT_SPEC_GET(DT_NODELABEL(led3_green), gpios);
static const struct gpio_dt_spec led3b = GPIO_DT_SPEC_GET(DT_NODELABEL(led3_blue),  gpios);
static const struct gpio_dt_spec led4r = GPIO_DT_SPEC_GET(DT_NODELABEL(led4_red),   gpios);
static const struct gpio_dt_spec led4g = GPIO_DT_SPEC_GET(DT_NODELABEL(led4_green), gpios);
static const struct gpio_dt_spec led4b = GPIO_DT_SPEC_GET(DT_NODELABEL(led4_blue),  gpios);

void init_leds(void)
{
	gpio_pin_configure_dt(&led3r, GPIO_OUTPUT_INACTIVE);
	gpio_pin_configure_dt(&led3g, GPIO_OUTPUT_INACTIVE);
	gpio_pin_configure_dt(&led3b, GPIO_OUTPUT_INACTIVE);
	gpio_pin_configure_dt(&led4r, GPIO_OUTPUT_INACTIVE);
	gpio_pin_configure_dt(&led4g, GPIO_OUTPUT_INACTIVE);
	gpio_pin_configure_dt(&led4b, GPIO_OUTPUT_INACTIVE);
}

static void do_blink(const struct gpio_dt_spec *led, int times)
{
	for (int i = 0; i < times; i++) {
		gpio_pin_set_dt(led, 1);
		k_sleep(K_MSEC(50));
		gpio_pin_set_dt(led, 0);
		k_sleep(K_MSEC(50));
	}
}

void led3r_blink(int times) { do_blink(&led3r, times); }
void led3g_blink(int times) { do_blink(&led3g, times); }
void led3b_blink(int times) { do_blink(&led3b, times); }
void led4r_blink(int times) { do_blink(&led4r, times); }
void led4g_blink(int times) { do_blink(&led4g, times); }
void led4b_blink(int times) { do_blink(&led4b, times); }

void led3r_set(int on) { gpio_pin_set_dt(&led3r, on); }
void led3g_set(int on) { gpio_pin_set_dt(&led3g, on); }
void led3b_set(int on) { gpio_pin_set_dt(&led3b, on); }
void led4r_set(int on) { gpio_pin_set_dt(&led4r, on); }
void led4g_set(int on) { gpio_pin_set_dt(&led4g, on); }
void led4b_set(int on) { gpio_pin_set_dt(&led4b, on); }
```

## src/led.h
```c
#ifndef LED_H_
#define LED_H_

void init_leds(void);

/* LED 3 — blink */
void led3r_blink(int times);
void led3g_blink(int times);
void led3b_blink(int times);

/* LED 4 — blink */
void led4r_blink(int times);
void led4g_blink(int times);
void led4b_blink(int times);

/* LED 3 — set state (1=on, 0=off) */
void led3r_set(int on);
void led3g_set(int on);
void led3b_set(int on);

/* LED 4 — set state (1=on, 0=off) */
void led4r_set(int on);
void led4g_set(int on);
void led4b_set(int on);

#define LED3R_BLINK(n) led3r_blink(n)
#define LED3G_BLINK(n) led3g_blink(n)
#define LED3B_BLINK(n) led3b_blink(n)

#define LED4R_BLINK(n) led4r_blink(n)
#define LED4G_BLINK(n) led4g_blink(n)
#define LED4B_BLINK(n) led4b_blink(n)

#define LED3R_SET(v) led3r_set(v)
#define LED3G_SET(v) led3g_set(v)
#define LED3B_SET(v) led3b_set(v)

#define LED4R_SET(v) led4r_set(v)
#define LED4G_SET(v) led4g_set(v)
#define LED4B_SET(v) led4b_set(v)

#endif /* LED_H_ */
```

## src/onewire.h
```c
#ifndef ONEWIRE_H_
#define ONEWIRE_H_

/* 1-Wire / DS18B20 thread entry — sensor data goes to the SPI bridge. */
void onewire_thread(void *unused0, void *unused1, void *unused2);

/**
 * Re-run the 1-Wire ROM search and report the results to Linux (see
 * onewire.c's ONEWIRE_ROM_REPORT_CAN_ID for the wire format). Safe to call
 * from any thread — just sets a flag; the actual scan runs from
 * onewire_thread() itself, since that's the only thread that otherwise
 * touches the W1 bus, avoiding any question about concurrent bus access.
 * Triggered by CFG_PARAM_OW_RESCAN (see sensor_config.c) — the host UI
 * uses this to show "what's currently on the bus" when the user is
 * assigning a slot to a sensor's ROM ID or replacing a failed one.
 */
void onewire_request_rescan(void);

#endif /* ONEWIRE_H_ */
```
